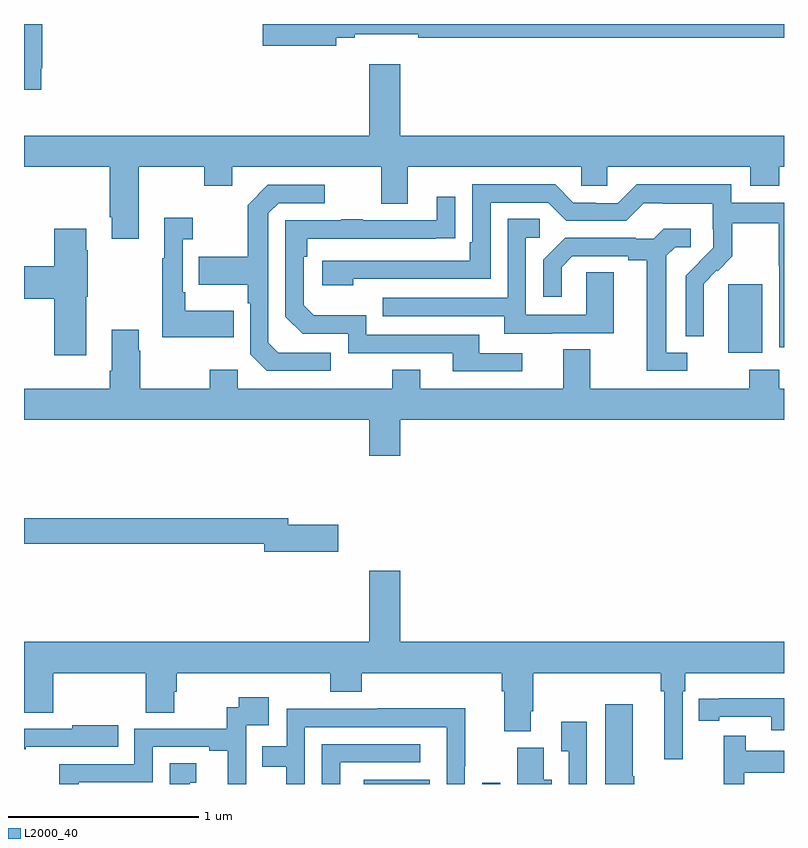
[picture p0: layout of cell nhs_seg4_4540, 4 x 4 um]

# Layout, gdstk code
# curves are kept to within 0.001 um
import gdstk
lib = gdstk.Library(unit=1e-6, precision=1e-09)
def R(c, l, rs):  # rectangles x0, y0, x1, y1
    for r in rs: c.add(gdstk.rectangle(r[:2], r[2:], *l))
def P(c, l, *ps):  # polygons
    for p in ps: c.add(gdstk.Polygon(p, *l))
L2000_40 = (2000, 40)

nhs_seg4_4540 = lib.new_cell('nhs_seg4_4540')
R(nhs_seg4_4540, L2000_40, [(356.787,798.9,357.136,798.922), (357.411,798.9,357.507,798.907), (358.706,801.17,358.885,801.531)])
P(nhs_seg4_4540, L2000_40, [(355.09,802.666),(355.097,802.666),(355.097,802.9),(355,802.9),(355,802.554),(355.09,802.554)],
  [(356.644,802.828),(356.74,802.828),(356.74,802.847),(357.076,802.847),(357.076,802.828),(359,802.828),(359,802.9),(356.256,802.9),(356.256,802.786),(356.644,802.786)],
  [(355.603,802.148),(355.948,802.148),(355.948,802.049),(356.095,802.049),(356.095,802.148),(356.879,802.148),(356.879,801.954),(357.019,801.954),(357.019,802.148),(357.933,802.148),(357.933,802.05),(358.071,802.05),(358.071,802.148),(358.823,802.148),(358.823,802.049),(358.976,802.049),(358.976,802.148),(359,802.148),(359,802.312),(356.98,802.312),(356.98,802.687),(356.816,802.687),(356.816,802.312),(355,802.312),(355,802.148),(355.451,802.148),(355.451,801.883),(355.463,801.883),(355.463,801.771),(355.603,801.771)],
  [(359,801.96),(358.722,801.96),(358.722,802.057),(358.225,802.057),(358.125,801.957),(358.01,801.957),(358.01,801.96),(357.891,801.96),(357.795,802.056),(357.36,802.056),(357.36,801.751),(357.347,801.751),(357.347,801.654),(356.571,801.654),(356.571,801.524),(356.732,801.524),(356.732,801.558),(357.456,801.558),(357.456,801.96),(357.759,801.96),(357.855,801.864),(358.17,801.864),(358.263,801.957),(358.363,801.957),(358.363,801.953),(358.626,801.953),(358.626,801.819),(358.628,801.819),(358.628,801.722),(358.482,801.574),(358.482,801.256),(358.578,801.256),(358.577,801.533),(358.647,801.603),(358.65,801.6),(358.727,801.677),(358.727,801.852),(358.972,801.852),(358.972,801.628),(358.974,801.628),(358.974,801.199),(359,801.199)],
  [(356.614,801.171),(356.337,801.171),(356.286,801.222),(356.286,801.903),(356.34,801.957),(356.584,801.957),(356.584,802.053),(356.283,802.053),(356.178,801.947),(356.178,801.675),(355.921,801.675),(355.921,801.527),(356.178,801.527),(356.178,801.431),(356.19,801.431),(356.19,801.162),(356.277,801.075),(356.614,801.075)],
  [(357.622,801.168),(357.397,801.168),(357.397,801.264),(356.802,801.264),(356.802,801.367),(356.525,801.367),(356.472,801.42),(356.472,801.674),(356.492,801.674),(356.492,801.771),(357.269,801.772),(357.269,801.991),(357.173,801.991),(357.173,801.867),(356.783,801.867),(356.783,801.872),(356.671,801.872),(356.671,801.867),(356.376,801.867),(356.376,801.36),(356.466,801.27),(356.706,801.27),(356.706,801.168),(357.257,801.168),(357.257,801.072),(357.622,801.072)],
  [(356.105,801.391),(355.849,801.391),(355.849,801.487),(355.836,801.487),(355.836,801.767),(355.888,801.767),(355.888,801.88),(355.739,801.88),(355.739,801.667),(355.728,801.667),(355.728,801.251),(356.105,801.251)],
  [(357.781,801.273),(358.105,801.273),(358.105,801.593),(357.96,801.593),(357.96,801.369),(357.642,801.369),(357.642,801.774),(357.715,801.774),(357.715,801.875),(357.546,801.875),(357.546,801.459),(356.887,801.459),(356.887,801.363),(357.527,801.363),(357.527,801.269),(357.781,801.269)],
  [(355.327,801.465),(355.335,801.465),(355.335,801.71),(355.327,801.71),(355.327,801.823),(355.16,801.823),(355.16,801.626),(355,801.626),(355,801.454),(355.16,801.454),(355.16,801.156),(355.327,801.156)],
  [(358.492,801.171),(358.381,801.171),(358.381,801.679),(358.428,801.726),(358.51,801.726),(358.51,801.823),(358.366,801.823),(358.314,801.771),(358.22,801.771),(358.22,801.774),(357.848,801.774),(357.732,801.658),(357.732,801.465),(357.829,801.465),(357.829,801.621),(357.886,801.678),(358.181,801.678),(358.181,801.656),(358.277,801.656),(358.277,801.075),(358.492,801.075)],
  [(356.98,800.816),(359,800.816),(359,800.98),(358.976,800.98),(358.976,801.079),(358.816,801.079),(358.816,800.98),(357.979,800.98),(357.979,801.188),(357.839,801.188),(357.839,800.98),(357.085,800.98),(357.085,801.079),(356.938,801.079),(356.938,800.98),(356.124,800.98),(356.124,801.079),(355.978,801.079),(355.978,800.98),(355.611,800.98),(355.611,801.179),(355.603,801.179),(355.603,801.292),(355.463,801.292),(355.463,801.076),(355.451,801.076),(355.451,800.98),(355,800.98),(355,800.816),(356.816,800.816),(356.816,800.628),(356.98,800.628)],
  [(356.653,800.264),(356.392,800.264),(356.392,800.3),(355,800.3),(355,800.164),(356.264,800.164),(356.264,800.122),(356.653,800.122)],
  [(358.467,799.388),(358.481,799.388),(358.481,799.484),(359,799.484),(359,799.648),(356.98,799.648),(356.98,800.023),(356.816,800.023),(356.816,799.648),(355,799.648),(355,799.484),(355.001,799.484),(355.001,799.276),(355.154,799.276),(355.154,799.484),(355.64,799.484),(355.64,799.276),(355.792,799.276),(355.792,799.386),(355.805,799.386),(355.805,799.484),(356.612,799.484),(356.612,799.385),(356.777,799.385),(356.777,799.484),(357.515,799.484),(357.515,799.388),(357.527,799.388),(357.527,799.177),(357.667,799.177),(357.667,799.282),(357.68,799.282),(357.68,799.484),(358.351,799.484),(358.351,799.388),(358.37,799.388),(358.37,799.029),(358.467,799.029)],
  [(355.287,798.909),(355.677,798.909),(355.677,799.095),(355.976,799.095),(355.976,799.075),(356.072,799.075),(356.072,798.9),(356.171,798.9),(356.171,798.905),(356.169,798.905),(356.169,799.209),(356.287,799.209),(356.287,799.357),(356.131,799.357),(356.131,799.305),(356.068,799.305),(356.068,799.191),(355.581,799.191),(355.581,799.005),(355.186,799.005),(355.186,798.9),(355.287,798.9)],
  [(359,799.351),(358.66,799.351),(358.66,799.35),(358.552,799.35),(358.552,799.234),(358.66,799.234),(358.66,799.254),(358.932,799.254),(358.932,799.182),(359,799.182)],
  [(358.212,798.941),(358.204,798.941),(358.204,799.321),(358.058,799.321),(358.058,798.9),(358.212,798.9)],
  [(356.478,799.2),(357.225,799.2),(357.225,798.9),(357.321,798.9),(357.321,798.994),(357.323,798.994),(357.323,799.298),(356.86,799.298),(356.86,799.296),(356.382,799.296),(356.382,799.098),(356.254,799.098),(356.254,798.99),(356.381,798.99),(356.381,798.9),(356.478,798.9)],
  [(357.963,799.228),(357.827,799.228),(357.827,799.072),(357.867,799.072),(357.867,798.9),(357.963,798.9)],
  [(355.009,799.095),(355.496,799.095),(355.496,799.21),(355.253,799.21),(355.253,799.191),(355,799.191),(355,799.083),(355.009,799.083)],
  [(358.792,798.958),(359,798.958),(359,799.074),(358.799,799.074),(358.799,799.153),(358.682,799.153),(358.682,798.9),(358.792,798.9)],
  [(356.664,799.014),(357.085,799.014),(357.085,799.11),(356.568,799.11),(356.568,798.9),(356.664,798.9)],
  [(357.778,798.922),(357.736,798.922),(357.736,799.092),(357.596,799.092),(357.596,798.9),(357.778,798.9)],
  [(355.873,798.907),(355.906,798.907),(355.906,799.01),(355.766,799.01),(355.766,798.9),(355.873,798.9)])

lib.write_gds('nhs_seg4_4540.gds')
